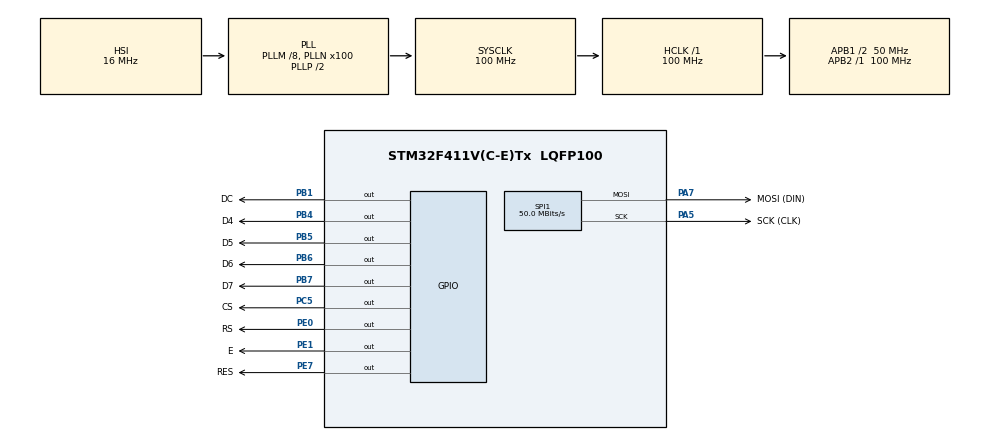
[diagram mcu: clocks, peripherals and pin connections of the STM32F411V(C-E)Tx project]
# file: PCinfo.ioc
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Mcu.Family=STM32F4
Mcu.Name=STM32F411V(C-E)Tx
Mcu.Package=LQFP100
NVIC.PriorityGroup=NVIC_PRIORITYGROUP_4
PA5.GPIO_Label=SCK (CLK)
PA5.Mode=TX_Only_Simplex_Unidirect_Master
PA5.Signal=SPI1_SCK
PA7.GPIO_Label=MOSI (DIN)
PA7.Mode=TX_Only_Simplex_Unidirect_Master
PA7.Signal=SPI1_MOSI
PB1.GPIO_Label=DC
PB1.Signal=GPIO_Output
PB4.GPIO_Label=D4
PB4.Signal=GPIO_Output
PB5.GPIO_Label=D5
PB5.Signal=GPIO_Output
PB6.GPIO_Label=D6
PB6.Signal=GPIO_Output
PB7.GPIO_Label=D7
PB7.Signal=GPIO_Output
PC5.GPIO_Label=CS
PC5.Signal=GPIO_Output
PE0.GPIO_Label=RS
PE0.Signal=GPIO_Output
PE1.GPIO_Label=E
PE1.Signal=GPIO_Output
PE7.GPIO_Label=RES
PE7.Signal=GPIO_Output
ProjectManager.HeapSize=0x200
ProjectManager.StackSize=0x400
ProjectManager.TargetToolchain=SW4STM32
RCC.48MHZClocksFreq_Value=50000000
RCC.AHBFreq_Value=100000000
RCC.APB1CLKDivider=RCC_HCLK_DIV2
RCC.APB1Freq_Value=50000000
RCC.APB1TimFreq_Value=100000000
RCC.APB2Freq_Value=100000000
RCC.APB2TimFreq_Value=100000000
RCC.CortexFreq_Value=100000000
RCC.HCLKFreq_Value=100000000
RCC.HSE_VALUE=25000000
RCC.HSI_VALUE=16000000
RCC.LSE_VALUE=32768
RCC.PLLM=8
RCC.PLLN=100
RCC.SYSCLKFreq_VALUE=100000000
RCC.SYSCLKSource=RCC_SYSCLKSOURCE_PLLCLK
RCC.VCOOutputFreq_Value=200000000
SPI1.CLKPhase=SPI_PHASE_2EDGE
SPI1.CLKPolarity=SPI_POLARITY_HIGH
SPI1.CalculateBaudRate=50.0 MBits/s
SPI1.Direction=SPI_DIRECTION_2LINES
SPI1.Mode=SPI_MODE_MASTER
SPI1.VirtualType=VM_MASTER
board=PCinfo

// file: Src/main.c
/**
  ******************************************************************************
  * @file           : main.c
  * @brief          : Main program body
  ******************************************************************************
  ** This notice applies to any and all portions of this file
  * that are not between comment pairs USER CODE BEGIN and
  * USER CODE END. Other portions of this file, whether
  * inserted by the user or by software development tools
  * are owned by their respective copyright owners.
  *
  * COPYRIGHT(c) 2018 STMicroelectronics
  *
  * Redistribution and use in source and binary forms, with or without modification,
  * are permitted provided that the following conditions are met:
  *   1. Redistributions of source code must retain the above copyright notice,
  *      this list of conditions and the following disclaimer.
  *   2. Redistributions in binary form must reproduce the above copyright notice,
  *      this list of conditions and the following disclaimer in the documentation
  *      and/or other materials provided with the distribution.
  *   3. Neither the name of STMicroelectronics nor the names of its contributors
  *      may be used to endorse or promote products derived from this software
  *      without specific prior written permission.
  *
  * THIS SOFTWARE IS PROVIDED BY THE COPYRIGHT HOLDERS AND CONTRIBUTORS "AS IS"
  * AND ANY EXPRESS OR IMPLIED WARRANTIES, INCLUDING, BUT NOT LIMITED TO, THE
  * IMPLIED WARRANTIES OF MERCHANTABILITY AND FITNESS FOR A PARTICULAR PURPOSE ARE
  * DISCLAIMED. IN NO EVENT SHALL THE COPYRIGHT HOLDER OR CONTRIBUTORS BE LIABLE
  * FOR ANY DIRECT, INDIRECT, INCIDENTAL, SPECIAL, EXEMPLARY, OR CONSEQUENTIAL
  * DAMAGES (INCLUDING, BUT NOT LIMITED TO, PROCUREMENT OF SUBSTITUTE GOODS OR
  * SERVICES; LOSS OF USE, DATA, OR PROFITS; OR BUSINESS INTERRUPTION) HOWEVER
  * CAUSED AND ON ANY THEORY OF LIABILITY, WHETHER IN CONTRACT, STRICT LIABILITY,
  * OR TORT (INCLUDING NEGLIGENCE OR OTHERWISE) ARISING IN ANY WAY OUT OF THE USE
  * OF THIS SOFTWARE, EVEN IF ADVISED OF THE POSSIBILITY OF SUCH DAMAGE.
  *
  ******************************************************************************
  */
#include "main.h"
#include "stm32f4xx_hal.h"

/* USER CODE BEGIN Includes */
#include "STM_MY_LCD16X2.h"
#include "SSD1331.h"
/* USER CODE END Includes */

SPI_HandleTypeDef hspi1;

/* USER CODE BEGIN PV */
/* Private variables ---------------------------------------------------------*/

/* USER CODE END PV */

void SystemClock_Config(void);
static void MX_GPIO_Init(void);
static void MX_SPI1_Init(void);

/* USER CODE BEGIN PFP */
/* Private function prototypes -----------------------------------------------*/

/* USER CODE END PFP */

int main(void)
{

  /* MCU Configuration----------------------------------------------------------*/

  /* Reset of all peripherals, Initializes the Flash interface and the Systick. */
  HAL_Init();

  /* Configure the system clock */
  SystemClock_Config();

  /* Initialize all configured peripherals */
  MX_GPIO_Init();
  MX_SPI1_Init();
  /* USER CODE BEGIN 2 */
	LCD1602_Begin4BIT(RS_GPIO_Port, RS_Pin, E_Pin, D4_GPIO_Port, D4_Pin, D5_Pin,	//nie dziala
			D6_Pin, D7_Pin);
	HAL_Delay(100);
	ssd1331_init();
	ssd1331_clear_screen(BLACK);
	ssd1331_display_string(0, 0, "Hello World!", FONT_1608, GREEN);
  /* USER CODE END 2 */

  /* Infinite loop */
  /* USER CODE BEGIN WHILE */
	while (1) {
		LCD1602_clear();
		HAL_Delay(1000);
		ssd1331_display_string(0, 0, "Hello World!", FONT_1608, BLUE);
		LCD1602_print("ELO ELO");
		LCD1602_2ndLine();
		LCD1602_print("2 linia");
		HAL_Delay(1000);
		ssd1331_display_string(0, 0, "Hello World!", FONT_1608, RED);
		LCD1602_1stLine();
		LCD1602_print("CZE");
		HAL_Delay(1000);
		ssd1331_display_string(0, 0, "Hello World!", FONT_1608, GREEN);
		LCD1602_print("Siema");
		HAL_Delay(1000);

  /* USER CODE END WHILE */

	}

}

void SystemClock_Config(void)
{

  RCC_OscInitTypeDef RCC_OscInitStruct;
  RCC_ClkInitTypeDef RCC_ClkInitStruct;

    /**Configure the main internal regulator output voltage
    */
  __HAL_RCC_PWR_CLK_ENABLE();

  __HAL_PWR_VOLTAGESCALING_CONFIG(PWR_REGULATOR_VOLTAGE_SCALE1);

    /**Initializes the CPU, AHB and APB busses clocks
    */
  RCC_OscInitStruct.OscillatorType = RCC_OSCILLATORTYPE_HSI;
  RCC_OscInitStruct.HSIState = RCC_HSI_ON;
  RCC_OscInitStruct.HSICalibrationValue = 16;
  RCC_OscInitStruct.PLL.PLLState = RCC_PLL_ON;
  RCC_OscInitStruct.PLL.PLLSource = RCC_PLLSOURCE_HSI;
  RCC_OscInitStruct.PLL.PLLM = 8;
  RCC_OscInitStruct.PLL.PLLN = 100;
  RCC_OscInitStruct.PLL.PLLP = RCC_PLLP_DIV2;
  RCC_OscInitStruct.PLL.PLLQ = 4;
  if (HAL_RCC_OscConfig(&RCC_OscInitStruct) != HAL_OK)
  {
    _Error_Handler(__FILE__, __LINE__);
  }

    /**Initializes the CPU, AHB and APB busses clocks
    */
  RCC_ClkInitStruct.ClockType = RCC_CLOCKTYPE_HCLK|RCC_CLOCKTYPE_SYSCLK
                              |RCC_CLOCKTYPE_PCLK1|RCC_CLOCKTYPE_PCLK2;
  RCC_ClkInitStruct.SYSCLKSource = RCC_SYSCLKSOURCE_PLLCLK;
  RCC_ClkInitStruct.AHBCLKDivider = RCC_SYSCLK_DIV1;
  RCC_ClkInitStruct.APB1CLKDivider = RCC_HCLK_DIV2;
  RCC_ClkInitStruct.APB2CLKDivider = RCC_HCLK_DIV1;

  if (HAL_RCC_ClockConfig(&RCC_ClkInitStruct, FLASH_LATENCY_3) != HAL_OK)
  {
    _Error_Handler(__FILE__, __LINE__);
  }

    /**Configure the Systick interrupt time
    */
  HAL_SYSTICK_Config(HAL_RCC_GetHCLKFreq()/1000);

    /**Configure the Systick
    */
  HAL_SYSTICK_CLKSourceConfig(SYSTICK_CLKSOURCE_HCLK);

  /* SysTick_IRQn interrupt configuration */
  HAL_NVIC_SetPriority(SysTick_IRQn, 0, 0);
}

/* SPI1 init function */
static void MX_SPI1_Init(void)
{

  /* SPI1 parameter configuration*/
  hspi1.Instance = SPI1;
  hspi1.Init.Mode = SPI_MODE_MASTER;
  hspi1.Init.Direction = SPI_DIRECTION_2LINES;
  hspi1.Init.DataSize = SPI_DATASIZE_8BIT;
  hspi1.Init.CLKPolarity = SPI_POLARITY_HIGH;
  hspi1.Init.CLKPhase = SPI_PHASE_2EDGE;
  hspi1.Init.NSS = SPI_NSS_SOFT;
  hspi1.Init.BaudRatePrescaler = SPI_BAUDRATEPRESCALER_2;
  hspi1.Init.FirstBit = SPI_FIRSTBIT_MSB;
  hspi1.Init.TIMode = SPI_TIMODE_DISABLE;
  hspi1.Init.CRCCalculation = SPI_CRCCALCULATION_DISABLE;
  hspi1.Init.CRCPolynomial = 10;
  if (HAL_SPI_Init(&hspi1) != HAL_OK)
  {
    _Error_Handler(__FILE__, __LINE__);
  }

}

/** Configure pins as
        * Analog
        * Input
        * Output
        * EVENT_OUT
        * EXTI
*/
static void MX_GPIO_Init(void)
{

  GPIO_InitTypeDef GPIO_InitStruct;

  /* GPIO Ports Clock Enable */
  __HAL_RCC_GPIOA_CLK_ENABLE();
  __HAL_RCC_GPIOC_CLK_ENABLE();
  __HAL_RCC_GPIOB_CLK_ENABLE();
  __HAL_RCC_GPIOE_CLK_ENABLE();

  /*Configure GPIO pin Output Level */
  HAL_GPIO_WritePin(CS_GPIO_Port, CS_Pin, GPIO_PIN_RESET);

  /*Configure GPIO pin Output Level */
  HAL_GPIO_WritePin(GPIOB, DC_Pin|D4_Pin|D5_Pin|D6_Pin
                          |D7_Pin, GPIO_PIN_RESET);

  /*Configure GPIO pin Output Level */
  HAL_GPIO_WritePin(GPIOE, RES_Pin|RS_Pin|E_Pin, GPIO_PIN_RESET);

  /*Configure GPIO pin : CS_Pin */
  GPIO_InitStruct.Pin = CS_Pin;
  GPIO_InitStruct.Mode = GPIO_MODE_OUTPUT_PP;
  GPIO_InitStruct.Pull = GPIO_NOPULL;
  GPIO_InitStruct.Speed = GPIO_SPEED_FREQ_LOW;
  HAL_GPIO_Init(CS_GPIO_Port, &GPIO_InitStruct);

  /*Configure GPIO pins : DC_Pin D4_Pin D5_Pin D6_Pin
                           D7_Pin */
  GPIO_InitStruct.Pin = DC_Pin|D4_Pin|D5_Pin|D6_Pin
                          |D7_Pin;
  GPIO_InitStruct.Mode = GPIO_MODE_OUTPUT_PP;
  GPIO_InitStruct.Pull = GPIO_NOPULL;
  GPIO_InitStruct.Speed = GPIO_SPEED_FREQ_LOW;
  HAL_GPIO_Init(GPIOB, &GPIO_InitStruct);

  /*Configure GPIO pins : RES_Pin RS_Pin E_Pin */
  GPIO_InitStruct.Pin = RES_Pin|RS_Pin|E_Pin;
  GPIO_InitStruct.Mode = GPIO_MODE_OUTPUT_PP;
  GPIO_InitStruct.Pull = GPIO_NOPULL;
  GPIO_InitStruct.Speed = GPIO_SPEED_FREQ_LOW;
  HAL_GPIO_Init(GPIOE, &GPIO_InitStruct);

}

void _Error_Handler(char *file, int line)
{
	while (1) {
	}
}

/************************ (C) COPYRIGHT STMicroelectronics *****END OF FILE****/
